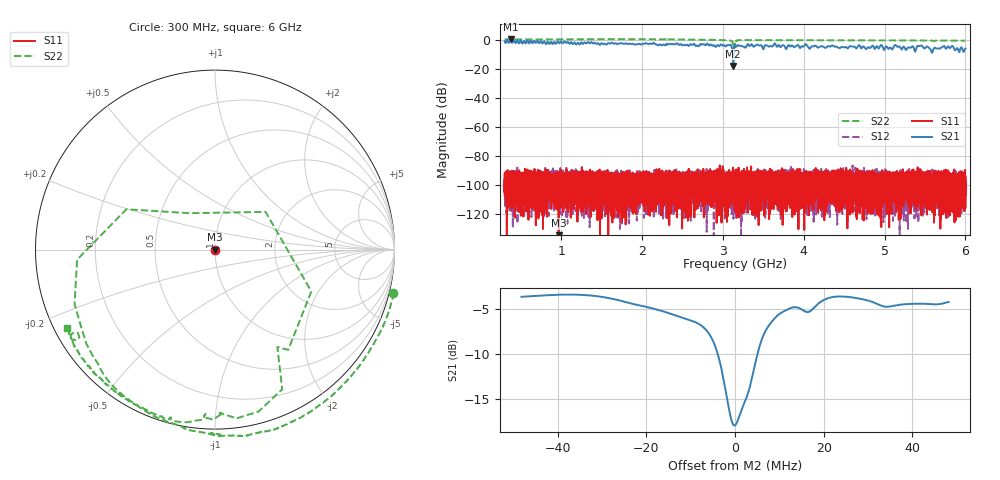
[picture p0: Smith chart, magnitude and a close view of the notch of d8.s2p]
!Agilent Technologies,N5230C,SG49000117,A.08.50.07
!Agilent N5230C: A.08.50.07
!Date: Sunday, March 17, 2024 05:32:40
!Correction: S11(Off)
!S21(Off)
!S12(Off)
!S22(Full 1 Port(2))
!S2P File: Measurements: S11, S21, S12, S22:
# Hz S  RI  R 50
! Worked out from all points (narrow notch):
!   20001 points, 300 MHz to 6 GHz, reference 50 ohm
!   highest |S21| = 0.45 dB at 373.8 MHz (marker M1); lowest = -18.0 dB at 3.128 GHz (marker M2)
!   notch at M2: 14.2 dB deep, 8.06 MHz wide at half that depth
!   lowest |S11| = -142.5 dB at 968.6 MHz (marker M3), VSWR 1.00, Z = 50 - j7.36e-06 ohm
!   |S11| at or under -10 dB: start of sweep to end of sweep
!   |S22| runs from -12.6 to 0.5 dB; largest |S21 - S12| = 1.1
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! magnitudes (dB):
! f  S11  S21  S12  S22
! 300 MHz  -97.8  -1.0  -105.1  0.2
! 373.8 MHz  -97.4  0.4  -95.9  0.2
! 968.6 MHz  -142.5  -2.1  -92.1  0.3
! 1.25 GHz  -92.1  -1.8  -93.6  0.4
! 2.2 GHz  -103.2  -3.9  -97.0  0.3
! 3.076 GHz  -100.8  -3.7  -104.1  -0.4
! 3.128 GHz  -94.6  -18.0  -95.2  -7.2
! 3.15 GHz  -107.0  -3.7  -97.3  -1.0
! 3.179 GHz  -105.3  -3.9  -98.2  -0.4
! 3.265 GHz  -98.8  -4.9  -104.2  -0.2
! 3.331 GHz  -100.8  -4.3  -97.1  -0.2
! 3.777 GHz  -100.6  -6.1  -96.9  -0.3
! 4.023 GHz  -94.1  -3.0  -96.4  -0.3
! 4.1 GHz  -93.4  -4.5  -99.3  -0.3
! 5.05 GHz  -96.0  -6.3  -98.4  -0.4
! 5.142 GHz  -97.2  -4.0  -109.9  -0.4
! 5.378 GHz  -99.2  -8.2  -98.0  -0.4
! 5.436 GHz  -103.1  -4.2  -96.5  -0.5
! 5.537 GHz  -95.5  -4.9  -102.2  -0.5
! 5.58 GHz  -100.1  -8.4  -103.9  -0.5
! 5.723 GHz  -96.0  -4.6  -98.0  -0.5
! 6 GHz  -97.9  -6.0  -104.8  -0.6
